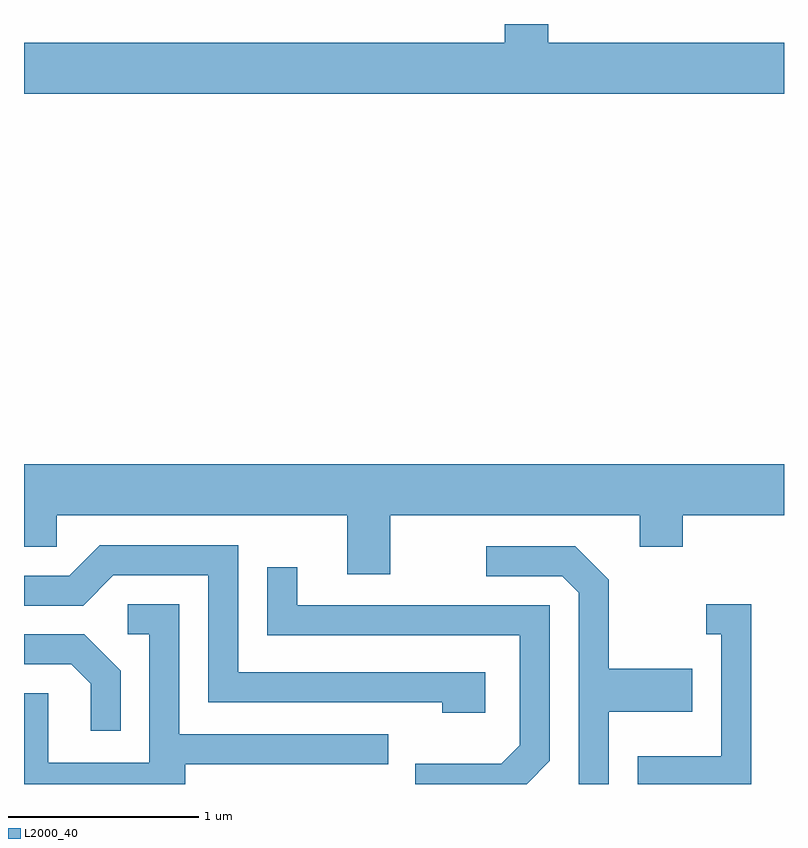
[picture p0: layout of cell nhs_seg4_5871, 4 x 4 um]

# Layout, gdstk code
import gdstk
lib = gdstk.Library(unit=1e-6, precision=1e-09)
def P(c, l, *ps):  # polygons
    for p in ps: c.add(gdstk.Polygon(p, *l))
L2000_40 = (2000, 40)

nhs_seg4_5871 = lib.new_cell('nhs_seg4_5871')
P(nhs_seg4_5871, L2000_40, [(361.611,1303.884),(360.369,1303.884),(360.369,1303.982),(360.141,1303.982),(360.141,1303.884),(357.611,1303.884),(357.611,1303.616),(361.611,1303.616)],
  [(359.539,1301.396),(360.851,1301.396),(360.851,1301.231),(361.079,1301.231),(361.079,1301.396),(361.611,1301.396),(361.611,1301.664),(357.611,1301.664),(357.611,1301.231),(357.784,1301.231),(357.784,1301.396),(359.311,1301.396),(359.311,1301.086),(359.539,1301.086)],
  [(360.039,1300.569),(358.739,1300.569),(358.739,1301.239),(358.009,1301.239),(357.849,1301.079),(357.611,1301.079),(357.611,1300.921),(357.922,1300.921),(358.082,1301.081),(358.581,1301.081),(358.581,1300.411),(359.811,1300.411),(359.811,1300.356),(360.039,1300.356)],
  [(360.689,1300.361),(361.129,1300.361),(361.129,1300.589),(360.689,1300.589),(360.689,1301.057),(360.512,1301.234),(360.043,1301.234),(360.043,1301.076),(360.444,1301.076),(360.531,1300.989),(360.531,1299.982),(360.689,1299.982)],
  [(360.379,1300.104),(360.379,1300.924),(359.049,1300.924),(359.049,1301.123),(358.891,1301.123),(358.891,1300.766),(360.221,1300.766),(360.221,1300.187),(360.124,1300.089),(359.671,1300.089),(359.671,1299.982),(360.258,1299.982)],
  [(361.439,1300.929),(361.203,1300.929),(361.203,1300.771),(361.281,1300.771),(361.281,1300.129),(360.841,1300.129),(360.841,1299.982),(361.439,1299.982)],
  [(358.459,1300.086),(359.528,1300.086),(359.528,1300.244),(358.429,1300.244),(358.429,1300.929),(358.158,1300.929),(358.158,1300.771),(358.271,1300.771),(358.271,1300.094),(357.739,1300.094),(357.739,1300.459),(357.611,1300.459),(357.611,1299.982),(358.459,1299.982)],
  [(358.119,1300.577),(357.927,1300.769),(357.611,1300.769),(357.611,1300.611),(357.859,1300.611),(357.961,1300.509),(357.961,1300.263),(358.119,1300.263)])

lib.write_gds('nhs_seg4_5871.gds')
